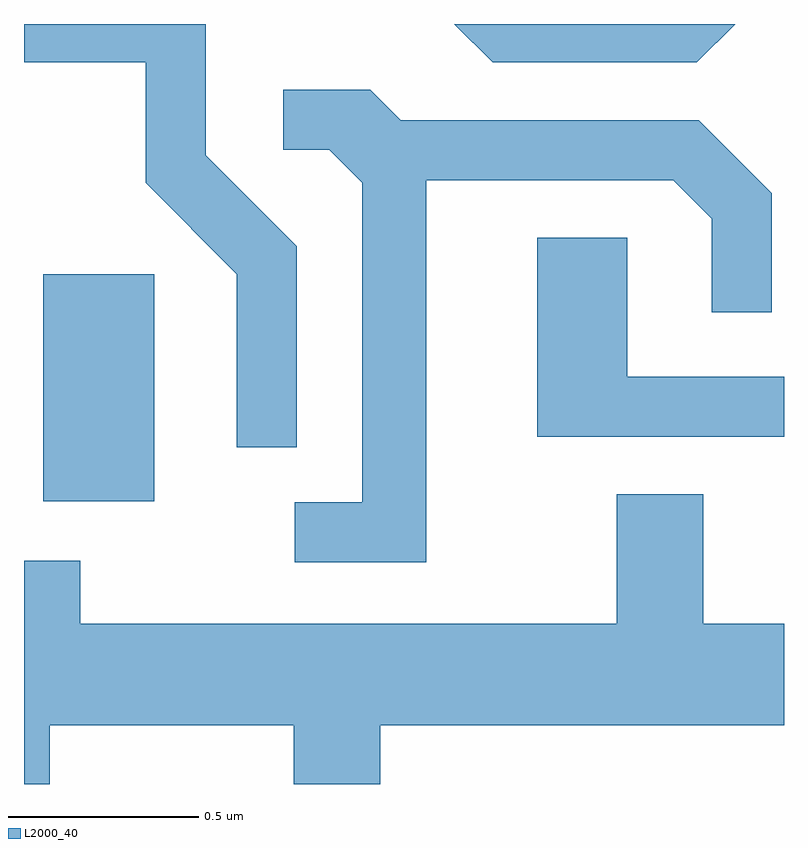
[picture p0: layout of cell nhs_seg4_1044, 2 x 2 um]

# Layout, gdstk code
import gdstk
lib = gdstk.Library(unit=1e-6, precision=1e-09)
def R(c, l, rs):  # rectangles x0, y0, x1, y1
    for r in rs: c.add(gdstk.rectangle(r[:2], r[2:], *l))
def P(c, l, *ps):  # polygons
    for p in ps: c.add(gdstk.Polygon(p, *l))
L2000_40 = (2000, 40)

nhs_seg4_1044 = lib.new_cell('nhs_seg4_1044')
R(nhs_seg4_1044, L2000_40, [(192.661,1339.726,192.954,1340.324)])
P(nhs_seg4_1044, L2000_40, [(193.329,1340.397),(193.089,1340.637),(193.089,1340.982),(192.611,1340.982),(192.611,1340.881),(192.931,1340.881),(192.931,1340.564),(193.171,1340.324),(193.171,1339.868),(193.329,1339.868)],
  [(194.483,1340.982),(193.743,1340.982),(193.844,1340.881),(194.382,1340.881)],
  [(193.669,1340.571),(194.319,1340.571),(194.421,1340.469),(194.421,1340.223),(194.579,1340.223),(194.579,1340.537),(194.387,1340.729),(193.602,1340.729),(193.522,1340.809),(193.293,1340.809),(193.293,1340.651),(193.414,1340.651),(193.501,1340.564),(193.501,1339.724),(193.323,1339.724),(193.323,1339.566),(193.669,1339.566)],
  [(194.611,1340.054),(194.199,1340.054),(194.199,1340.419),(193.961,1340.419),(193.961,1339.896),(194.611,1339.896)],
  [(192.679,1339.136),(193.321,1339.136),(193.321,1338.982),(193.549,1338.982),(193.549,1339.136),(194.611,1339.136),(194.611,1339.404),(194.399,1339.404),(194.399,1339.744),(194.171,1339.744),(194.171,1339.404),(192.759,1339.404),(192.759,1339.569),(192.611,1339.569),(192.611,1338.982),(192.679,1338.982)])

lib.write_gds('nhs_seg4_1044.gds')
